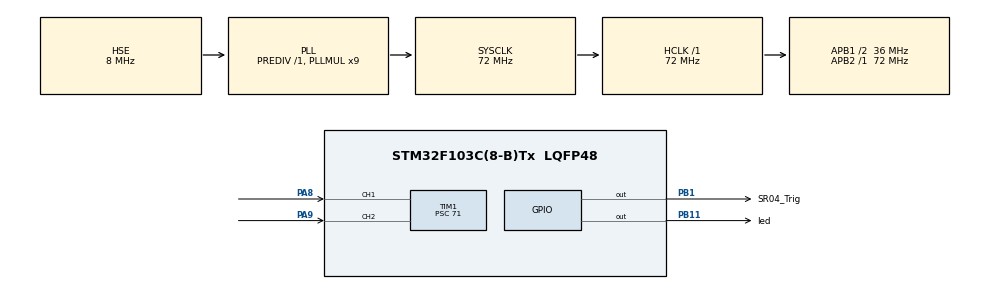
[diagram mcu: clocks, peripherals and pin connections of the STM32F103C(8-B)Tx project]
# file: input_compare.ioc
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Dma.Request0=TIM1_CH1
Dma.Request1=TIM1_CH2
Dma.TIM1_CH1.0.Direction=DMA_PERIPH_TO_MEMORY
Dma.TIM1_CH1.0.Instance=DMA1_Channel2
Dma.TIM1_CH1.0.MemDataAlignment=DMA_MDATAALIGN_HALFWORD
Dma.TIM1_CH1.0.MemInc=DMA_MINC_ENABLE
Dma.TIM1_CH1.0.Mode=DMA_CIRCULAR
Dma.TIM1_CH1.0.PeriphDataAlignment=DMA_PDATAALIGN_HALFWORD
Dma.TIM1_CH1.0.PeriphInc=DMA_PINC_DISABLE
Dma.TIM1_CH1.0.Priority=DMA_PRIORITY_LOW
Dma.TIM1_CH2.1.Direction=DMA_PERIPH_TO_MEMORY
Dma.TIM1_CH2.1.Instance=DMA1_Channel3
Dma.TIM1_CH2.1.MemDataAlignment=DMA_MDATAALIGN_HALFWORD
Dma.TIM1_CH2.1.MemInc=DMA_MINC_ENABLE
Dma.TIM1_CH2.1.Mode=DMA_CIRCULAR
Dma.TIM1_CH2.1.PeriphDataAlignment=DMA_PDATAALIGN_HALFWORD
Dma.TIM1_CH2.1.PeriphInc=DMA_PINC_DISABLE
Dma.TIM1_CH2.1.Priority=DMA_PRIORITY_LOW
Mcu.Family=STM32F1
Mcu.Name=STM32F103C(8-B)Tx
Mcu.Package=LQFP48
NVIC.DMA1_Channel2_IRQn=true\:0\:0\:false\:false\:true\:false\:true\:true
NVIC.DMA1_Channel3_IRQn=true\:0\:0\:false\:false\:true\:false\:true\:true
NVIC.PriorityGroup=NVIC_PRIORITYGROUP_4
NVIC.TIM1_CC_IRQn=true\:0\:0\:false\:false\:true\:true\:true\:true
PA13.Mode=Serial_Wire
PA13.Signal=SYS_JTMS-SWDIO
PA14.Mode=Serial_Wire
PA14.Signal=SYS_JTCK-SWCLK
PA8.Signal=S_TIM1_CH1
PA9.Signal=S_TIM1_CH2
PB1.GPIO_Label=SR04_Trig
PB1.GPIO_Speed=GPIO_SPEED_FREQ_HIGH
PB1.Signal=GPIO_Output
PB11.GPIO_Label=led
PB11.GPIO_PuPd=GPIO_PULLDOWN
PB11.Signal=GPIO_Output
PD0-OSC_IN.Mode=HSE-External-Oscillator
PD0-OSC_IN.Signal=RCC_OSC_IN
PD1-OSC_OUT.Mode=HSE-External-Oscillator
PD1-OSC_OUT.Signal=RCC_OSC_OUT
ProjectManager.HeapSize=0x200
ProjectManager.StackSize=0x400
ProjectManager.TargetToolchain=STM32CubeIDE
RCC.AHBFreq_Value=72000000
RCC.APB1CLKDivider=RCC_HCLK_DIV2
RCC.APB1Freq_Value=36000000
RCC.APB1TimFreq_Value=72000000
RCC.APB2Freq_Value=72000000
RCC.APB2TimFreq_Value=72000000
RCC.HCLKFreq_Value=72000000
RCC.PLLMUL=RCC_PLL_MUL9
RCC.PLLSourceVirtual=RCC_PLLSOURCE_HSE
RCC.SYSCLKFreq_VALUE=72000000
RCC.SYSCLKSource=RCC_SYSCLKSOURCE_PLLCLK
RCC.USBFreq_Value=72000000
SH.S_TIM1_CH1.0=TIM1_CH1,Input_Capture1_from_TI1
SH.S_TIM1_CH2.0=TIM1_CH2,Input_Capture2_from_TI2
TIM1.Channel-Input_Capture1_from_TI1=TIM_CHANNEL_1
TIM1.Channel-Input_Capture2_from_TI2=TIM_CHANNEL_2
TIM1.ICPolarity_CH2=TIM_INPUTCHANNELPOLARITY_FALLING
TIM1.Prescaler=71
TIM3.Prescaler=71
VP_TIM1_VS_ClockSourceINT.Mode=Internal
VP_TIM3_VS_ClockSourceINT.Mode=Internal
board=custom

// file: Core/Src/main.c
/* USER CODE BEGIN Header */
/**
  ******************************************************************************
  * @file           : main.c
  * @brief          : Main program body
  ******************************************************************************
  * @attention
  *
  * Copyright (c) 2024 STMicroelectronics.
  * All rights reserved.
  *
  * This software is licensed under terms that can be found in the LICENSE file
  * in the root directory of this software component.
  * If no LICENSE file comes with this software, it is provided AS-IS.
  *
  ******************************************************************************
  */
/* USER CODE END Header */
#include "main.h"

TIM_HandleTypeDef htim1;
TIM_HandleTypeDef htim3;
DMA_HandleTypeDef hdma_tim1_ch1;
DMA_HandleTypeDef hdma_tim1_ch2;

/* USER CODE BEGIN PV */
uint32_t risingValue;
uint32_t fallingValue;
uint32_t distanceInCm;

uint8_t sr04Done_flag = 0;
/* USER CODE END PV */

void SystemClock_Config(void);
static void MX_GPIO_Init(void);
static void MX_DMA_Init(void);
static void MX_TIM1_Init(void);
static void MX_TIM3_Init(void);

/* USER CODE BEGIN 0 */

void HAL_TIM_IC_CaptureCallback(TIM_HandleTypeDef *htim) {
//	HAL_GPIO_TogglePin(led_GPIO_Port, led_Pin);
	if (htim->Channel == HAL_TIM_ACTIVE_CHANNEL_1) {
//		risingValue = HAL_TIM_ReadCapturedValue(htim, TIM_CHANNEL_1);
	}
	else if (htim->Channel == HAL_TIM_ACTIVE_CHANNEL_2){
//		fallingValue = HAL_TIM_ReadCapturedValue(htim, TIM_CHANNEL_2);
		sr04Done_flag = 1;
	}
}
void _delay(uint32_t us) {
	__HAL_TIM_SET_COUNTER(&htim3, 0);
	HAL_TIM_Base_Start(&htim3);
	while (__HAL_TIM_GET_COUNTER(&htim3) < us);
	HAL_TIM_Base_Stop(&htim3);
}

void SR04_Start() {
	HAL_GPIO_WritePin(SR04_Trig_GPIO_Port, SR04_Trig_Pin, GPIO_PIN_SET);
	_delay(10);
	HAL_GPIO_WritePin(SR04_Trig_GPIO_Port, SR04_Trig_Pin, GPIO_PIN_RESET);

	__HAL_TIM_SET_COUNTER(&htim1, 0);
}
/* USER CODE END 0 */

int main(void)
{

  /* MCU Configuration--------------------------------------------------------*/

  /* Reset of all peripherals, Initializes the Flash interface and the Systick. */
  HAL_Init();

  /* Configure the system clock */
  SystemClock_Config();

  /* Initialize all configured peripherals */
  MX_GPIO_Init();
  MX_DMA_Init();
  MX_TIM1_Init();
  MX_TIM3_Init();
  /* USER CODE BEGIN 2 */
//  HAL_TIM_IC_Start_IT(&htim1, TIM_CHANNEL_1);
//  HAL_TIM_IC_Start_IT(&htim1, TIM_CHANNEL_2);

  //DMA MODE
  HAL_TIM_IC_Start_DMA(&htim1, TIM_CHANNEL_1, &risingValue, 1);
  HAL_TIM_IC_Start_DMA(&htim1, TIM_CHANNEL_2, &fallingValue, 1);

  /* USER CODE END 2 */

  /* Infinite loop */
  /* USER CODE BEGIN WHILE */
  while (1)
  {
	  SR04_Start();
	  HAL_Delay(100);
	  if (sr04Done_flag == 1) {
		  uint32_t diff = fallingValue - risingValue; //time in micros
		  distanceInCm = diff / 58;
		  sr04Done_flag = 0;
	  }
    /* USER CODE END WHILE */

  }
}

void SystemClock_Config(void)
{
  RCC_OscInitTypeDef RCC_OscInitStruct = {0};
  RCC_ClkInitTypeDef RCC_ClkInitStruct = {0};

  /** Initializes the RCC Oscillators according to the specified parameters
  * in the RCC_OscInitTypeDef structure.
  */
  RCC_OscInitStruct.OscillatorType = RCC_OSCILLATORTYPE_HSE;
  RCC_OscInitStruct.HSEState = RCC_HSE_ON;
  RCC_OscInitStruct.HSEPredivValue = RCC_HSE_PREDIV_DIV1;
  RCC_OscInitStruct.HSIState = RCC_HSI_ON;
  RCC_OscInitStruct.PLL.PLLState = RCC_PLL_ON;
  RCC_OscInitStruct.PLL.PLLSource = RCC_PLLSOURCE_HSE;
  RCC_OscInitStruct.PLL.PLLMUL = RCC_PLL_MUL9;
  if (HAL_RCC_OscConfig(&RCC_OscInitStruct) != HAL_OK)
  {
    Error_Handler();
  }

  /** Initializes the CPU, AHB and APB buses clocks
  */
  RCC_ClkInitStruct.ClockType = RCC_CLOCKTYPE_HCLK|RCC_CLOCKTYPE_SYSCLK
                              |RCC_CLOCKTYPE_PCLK1|RCC_CLOCKTYPE_PCLK2;
  RCC_ClkInitStruct.SYSCLKSource = RCC_SYSCLKSOURCE_PLLCLK;
  RCC_ClkInitStruct.AHBCLKDivider = RCC_SYSCLK_DIV1;
  RCC_ClkInitStruct.APB1CLKDivider = RCC_HCLK_DIV2;
  RCC_ClkInitStruct.APB2CLKDivider = RCC_HCLK_DIV1;

  if (HAL_RCC_ClockConfig(&RCC_ClkInitStruct, FLASH_LATENCY_2) != HAL_OK)
  {
    Error_Handler();
  }
}

static void MX_TIM1_Init(void)
{

  TIM_ClockConfigTypeDef sClockSourceConfig = {0};
  TIM_MasterConfigTypeDef sMasterConfig = {0};
  TIM_IC_InitTypeDef sConfigIC = {0};

  htim1.Instance = TIM1;
  htim1.Init.Prescaler = 71;
  htim1.Init.CounterMode = TIM_COUNTERMODE_UP;
  htim1.Init.Period = 65535;
  htim1.Init.ClockDivision = TIM_CLOCKDIVISION_DIV1;
  htim1.Init.RepetitionCounter = 0;
  htim1.Init.AutoReloadPreload = TIM_AUTORELOAD_PRELOAD_DISABLE;
  if (HAL_TIM_Base_Init(&htim1) != HAL_OK)
  {
    Error_Handler();
  }
  sClockSourceConfig.ClockSource = TIM_CLOCKSOURCE_INTERNAL;
  if (HAL_TIM_ConfigClockSource(&htim1, &sClockSourceConfig) != HAL_OK)
  {
    Error_Handler();
  }
  if (HAL_TIM_IC_Init(&htim1) != HAL_OK)
  {
    Error_Handler();
  }
  sMasterConfig.MasterOutputTrigger = TIM_TRGO_RESET;
  sMasterConfig.MasterSlaveMode = TIM_MASTERSLAVEMODE_DISABLE;
  if (HAL_TIMEx_MasterConfigSynchronization(&htim1, &sMasterConfig) != HAL_OK)
  {
    Error_Handler();
  }
  sConfigIC.ICPolarity = TIM_INPUTCHANNELPOLARITY_RISING;
  sConfigIC.ICSelection = TIM_ICSELECTION_DIRECTTI;
  sConfigIC.ICPrescaler = TIM_ICPSC_DIV1;
  sConfigIC.ICFilter = 0;
  if (HAL_TIM_IC_ConfigChannel(&htim1, &sConfigIC, TIM_CHANNEL_1) != HAL_OK)
  {
    Error_Handler();
  }
  sConfigIC.ICPolarity = TIM_INPUTCHANNELPOLARITY_FALLING;
  if (HAL_TIM_IC_ConfigChannel(&htim1, &sConfigIC, TIM_CHANNEL_2) != HAL_OK)
  {
    Error_Handler();
  }

}

static void MX_TIM3_Init(void)
{

  TIM_ClockConfigTypeDef sClockSourceConfig = {0};
  TIM_MasterConfigTypeDef sMasterConfig = {0};

  htim3.Instance = TIM3;
  htim3.Init.Prescaler = 71;
  htim3.Init.CounterMode = TIM_COUNTERMODE_UP;
  htim3.Init.Period = 65535;
  htim3.Init.ClockDivision = TIM_CLOCKDIVISION_DIV1;
  htim3.Init.AutoReloadPreload = TIM_AUTORELOAD_PRELOAD_DISABLE;
  if (HAL_TIM_Base_Init(&htim3) != HAL_OK)
  {
    Error_Handler();
  }
  sClockSourceConfig.ClockSource = TIM_CLOCKSOURCE_INTERNAL;
  if (HAL_TIM_ConfigClockSource(&htim3, &sClockSourceConfig) != HAL_OK)
  {
    Error_Handler();
  }
  sMasterConfig.MasterOutputTrigger = TIM_TRGO_RESET;
  sMasterConfig.MasterSlaveMode = TIM_MASTERSLAVEMODE_DISABLE;
  if (HAL_TIMEx_MasterConfigSynchronization(&htim3, &sMasterConfig) != HAL_OK)
  {
    Error_Handler();
  }

}

static void MX_DMA_Init(void)
{

  /* DMA controller clock enable */
  __HAL_RCC_DMA1_CLK_ENABLE();

  /* DMA interrupt init */
  /* DMA1_Channel2_IRQn interrupt configuration */
  HAL_NVIC_SetPriority(DMA1_Channel2_IRQn, 0, 0);
  HAL_NVIC_EnableIRQ(DMA1_Channel2_IRQn);
  /* DMA1_Channel3_IRQn interrupt configuration */
  HAL_NVIC_SetPriority(DMA1_Channel3_IRQn, 0, 0);
  HAL_NVIC_EnableIRQ(DMA1_Channel3_IRQn);

}

static void MX_GPIO_Init(void)
{
  GPIO_InitTypeDef GPIO_InitStruct = {0};

  /* GPIO Ports Clock Enable */
  __HAL_RCC_GPIOD_CLK_ENABLE();
  __HAL_RCC_GPIOB_CLK_ENABLE();
  __HAL_RCC_GPIOA_CLK_ENABLE();

  /*Configure GPIO pin Output Level */
  HAL_GPIO_WritePin(GPIOB, SR04_Trig_Pin|led_Pin, GPIO_PIN_RESET);

  /*Configure GPIO pin : SR04_Trig_Pin */
  GPIO_InitStruct.Pin = SR04_Trig_Pin;
  GPIO_InitStruct.Mode = GPIO_MODE_OUTPUT_PP;
  GPIO_InitStruct.Pull = GPIO_NOPULL;
  GPIO_InitStruct.Speed = GPIO_SPEED_FREQ_HIGH;
  HAL_GPIO_Init(SR04_Trig_GPIO_Port, &GPIO_InitStruct);

  /*Configure GPIO pin : led_Pin */
  GPIO_InitStruct.Pin = led_Pin;
  GPIO_InitStruct.Mode = GPIO_MODE_OUTPUT_PP;
  GPIO_InitStruct.Pull = GPIO_PULLDOWN;
  GPIO_InitStruct.Speed = GPIO_SPEED_FREQ_LOW;
  HAL_GPIO_Init(led_GPIO_Port, &GPIO_InitStruct);

}

void Error_Handler(void)
{
  __disable_irq();
  while (1)
  {
  }
}
